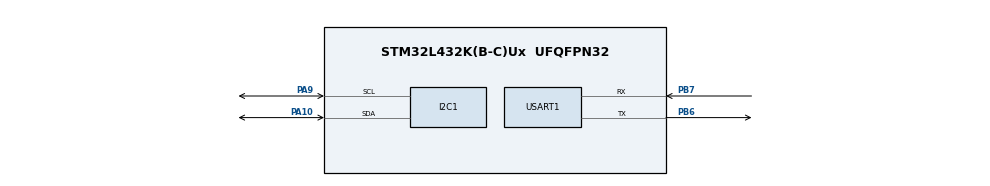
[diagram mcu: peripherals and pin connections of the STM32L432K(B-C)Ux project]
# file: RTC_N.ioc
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Mcu.Family=STM32L4
Mcu.Name=STM32L432K(B-C)Ux
Mcu.Package=UFQFPN32
NVIC.PriorityGroup=NVIC_PRIORITYGROUP_4
PA10.GPIO_Pu=GPIO_PULLUP
PA10.Mode=I2C
PA10.Signal=I2C1_SDA
PA9.GPIO_Pu=GPIO_PULLUP
PA9.Mode=I2C
PA9.Signal=I2C1_SCL
PB6.Mode=Asynchronous
PB6.Signal=USART1_TX
PB7.Mode=Asynchronous
PB7.Signal=USART1_RX
PC14-OSC32_IN\ (PC14).Mode=LSE-External-Oscillator
PC14-OSC32_IN\ (PC14).Signal=RCC_OSC32_IN
PC15-OSC32_OUT\ (PC15).Mode=LSE-External-Oscillator
PC15-OSC32_OUT\ (PC15).Signal=RCC_OSC32_OUT
ProjectManager.HeapSize=0x200
ProjectManager.StackSize=0x400
ProjectManager.TargetToolchain=STM32CubeIDE
RCC.HSE_VALUE=8000000
RCC.HSI48_VALUE=48000000
RCC.HSI_VALUE=16000000
RCC.MSI_VALUE=4000000
RCC.VCOOutputFreq_Value=32000000
USART1.VirtualMode-Asynchronous=VM_ASYNC
board=custom

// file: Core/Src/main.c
/* USER CODE BEGIN Header */
/**
  ******************************************************************************
  * @file           : main.c
  * @brief          : Main program body
  ******************************************************************************
  * @attention
  *
  * Copyright (c) 2023 STMicroelectronics.
  * All rights reserved.
  *
  * This software is licensed under terms that can be found in the LICENSE file
  * in the root directory of this software component.
  * If no LICENSE file comes with this software, it is provided AS-IS.
  *
  ******************************************************************************
  */
/* USER CODE END Header */
#include "main.h"

/* USER CODE BEGIN Includes */
#include "string.h"
#include <stdio.h>
/* USER CODE END Includes */

I2C_HandleTypeDef hi2c1;

UART_HandleTypeDef huart1;

void SystemClock_Config(void);
static void MX_GPIO_Init(void);
static void MX_I2C1_Init(void);
static void MX_USART1_UART_Init(void);

/* USER CODE BEGIN 0 */
#define DS1307_ADDRESS 0xD0

/* USER CODE END 0 */

int main(void)
{

  /* MCU Configuration--------------------------------------------------------*/

  /* Reset of all peripherals, Initializes the Flash interface and the Systick. */
  HAL_Init();

  /* Configure the system clock */
  SystemClock_Config();

  /* Initialize all configured peripherals */
  MX_GPIO_Init();
  MX_I2C1_Init();
  MX_USART1_UART_Init();
  /* USER CODE BEGIN 2 */

  uint8_t rtcData[8];
  rtcData[0] = 0x00;// Address of RTC seconds register
  rtcData[1] = 0x00;// Seconds
  rtcData[2] = 0x01;// Minutes
  rtcData[3] = 0x18;// Hours (hours in 24-hour format)-Refer Datasheet to change to 12hr
  rtcData[4] = 0x04;// Day of the week (Thursday)- 1->Monday, 2->Tuesday,......
  rtcData[5] = 0x14;// Date (14th day of the month)
  rtcData[6] = 0x09;// Month (September)
  rtcData[7] = 0x23;// Year (2023)

   if (HAL_I2C_Master_Transmit(&hi2c1, DS1307_ADDRESS, rtcData, sizeof(rtcData), HAL_MAX_DELAY) != HAL_OK) {
     Error_Handler();
   }

   char uartBuffer[50]="0";
  /* USER CODE END 2 */

  /* Infinite loop */
  /* USER CODE BEGIN WHILE */
  while (1)
  {

	    rtcData[0] = 0x00;

	    if (HAL_I2C_Master_Transmit(&hi2c1, DS1307_ADDRESS, rtcData, 1, HAL_MAX_DELAY) != HAL_OK) {
	      Error_Handler();
	    }

	    if (HAL_I2C_Master_Receive(&hi2c1, DS1307_ADDRESS, rtcData, sizeof(rtcData) - 1, HAL_MAX_DELAY) != HAL_OK) {
	      Error_Handler();
	    }

	    snprintf(uartBuffer, sizeof(uartBuffer), "Time: %02X:%02X:%02X, Date: %02X/%02X/%02X\r\n",
	             rtcData[2], rtcData[1], rtcData[0], rtcData[4], rtcData[5], rtcData[6]);
	    HAL_UART_Transmit(&huart1, (uint8_t *)uartBuffer, strlen(uartBuffer), HAL_MAX_DELAY);

	    HAL_Delay(1000);
    /* USER CODE END WHILE */

  }
}

void SystemClock_Config(void)
{
  RCC_OscInitTypeDef RCC_OscInitStruct = {0};
  RCC_ClkInitTypeDef RCC_ClkInitStruct = {0};

  /** Configure the main internal regulator output voltage
  */
  if (HAL_PWREx_ControlVoltageScaling(PWR_REGULATOR_VOLTAGE_SCALE1) != HAL_OK)
  {
    Error_Handler();
  }

  /** Configure LSE Drive Capability
  */
  HAL_PWR_EnableBkUpAccess();
  __HAL_RCC_LSEDRIVE_CONFIG(RCC_LSEDRIVE_LOW);

  /** Initializes the RCC Oscillators according to the specified parameters
  * in the RCC_OscInitTypeDef structure.
  */
  RCC_OscInitStruct.OscillatorType = RCC_OSCILLATORTYPE_LSE|RCC_OSCILLATORTYPE_MSI;
  RCC_OscInitStruct.LSEState = RCC_LSE_ON;
  RCC_OscInitStruct.MSIState = RCC_MSI_ON;
  RCC_OscInitStruct.MSICalibrationValue = 0;
  RCC_OscInitStruct.MSIClockRange = RCC_MSIRANGE_6;
  RCC_OscInitStruct.PLL.PLLState = RCC_PLL_NONE;
  if (HAL_RCC_OscConfig(&RCC_OscInitStruct) != HAL_OK)
  {
    Error_Handler();
  }

  /** Initializes the CPU, AHB and APB buses clocks
  */
  RCC_ClkInitStruct.ClockType = RCC_CLOCKTYPE_HCLK|RCC_CLOCKTYPE_SYSCLK
                              |RCC_CLOCKTYPE_PCLK1|RCC_CLOCKTYPE_PCLK2;
  RCC_ClkInitStruct.SYSCLKSource = RCC_SYSCLKSOURCE_MSI;
  RCC_ClkInitStruct.AHBCLKDivider = RCC_SYSCLK_DIV1;
  RCC_ClkInitStruct.APB1CLKDivider = RCC_HCLK_DIV1;
  RCC_ClkInitStruct.APB2CLKDivider = RCC_HCLK_DIV1;

  if (HAL_RCC_ClockConfig(&RCC_ClkInitStruct, FLASH_LATENCY_0) != HAL_OK)
  {
    Error_Handler();
  }

  /** Enable MSI Auto calibration
  */
  HAL_RCCEx_EnableMSIPLLMode();
}

static void MX_I2C1_Init(void)
{

  hi2c1.Instance = I2C1;
  hi2c1.Init.Timing = 0x00000E14;
  hi2c1.Init.OwnAddress1 = 0;
  hi2c1.Init.AddressingMode = I2C_ADDRESSINGMODE_7BIT;
  hi2c1.Init.DualAddressMode = I2C_DUALADDRESS_DISABLE;
  hi2c1.Init.OwnAddress2 = 0;
  hi2c1.Init.OwnAddress2Masks = I2C_OA2_NOMASK;
  hi2c1.Init.GeneralCallMode = I2C_GENERALCALL_DISABLE;
  hi2c1.Init.NoStretchMode = I2C_NOSTRETCH_DISABLE;
  if (HAL_I2C_Init(&hi2c1) != HAL_OK)
  {
    Error_Handler();
  }

  /** Configure Analogue filter
  */
  if (HAL_I2CEx_ConfigAnalogFilter(&hi2c1, I2C_ANALOGFILTER_ENABLE) != HAL_OK)
  {
    Error_Handler();
  }

  /** Configure Digital filter
  */
  if (HAL_I2CEx_ConfigDigitalFilter(&hi2c1, 0) != HAL_OK)
  {
    Error_Handler();
  }

}

static void MX_USART1_UART_Init(void)
{

  huart1.Instance = USART1;
  huart1.Init.BaudRate = 115200;
  huart1.Init.WordLength = UART_WORDLENGTH_8B;
  huart1.Init.StopBits = UART_STOPBITS_1;
  huart1.Init.Parity = UART_PARITY_NONE;
  huart1.Init.Mode = UART_MODE_TX_RX;
  huart1.Init.HwFlowCtl = UART_HWCONTROL_NONE;
  huart1.Init.OverSampling = UART_OVERSAMPLING_16;
  huart1.Init.OneBitSampling = UART_ONE_BIT_SAMPLE_DISABLE;
  huart1.AdvancedInit.AdvFeatureInit = UART_ADVFEATURE_NO_INIT;
  if (HAL_UART_Init(&huart1) != HAL_OK)
  {
    Error_Handler();
  }

}

static void MX_GPIO_Init(void)
{

  /* GPIO Ports Clock Enable */
  __HAL_RCC_GPIOC_CLK_ENABLE();
  __HAL_RCC_GPIOA_CLK_ENABLE();
  __HAL_RCC_GPIOB_CLK_ENABLE();

}

void Error_Handler(void)
{
  __disable_irq();
  while (1)
  {
  }
}
